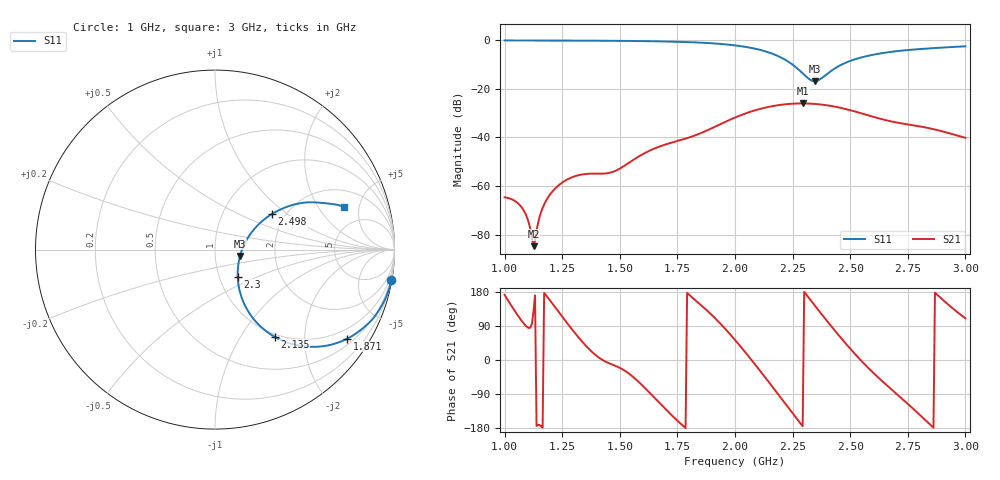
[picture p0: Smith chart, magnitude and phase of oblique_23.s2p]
! TOUCHSTONE file generated by CST MICROWAVE STUDIO
! Date and time: Tue Mar 18 00:00:54 2025
! Project name: oblique.cst
! Parameters = {Tilt=30; Fracture=1; B=10; D=160; F=15; Feed=2.85625; L=100; M=30; R=0.384908; S=1; Theta=180; length=57.125; wave=114.25}
! Header version: 2024
! Port assignment regex: !\s*Touchstone port\s*([0-9]+)\s*=\s*(CST MWS port|CST DES external port|CST DES block port)\s*(.+)\s* \(\"(.*)\"\)(\s*mode\s*([0-9]+))?.*
! Touchstone port assignment:
! Touchstone port 1 = CST MWS port 1 ("")
! Touchstone port 2 = CST MWS port 2 ("")
# GHz S DB R 50
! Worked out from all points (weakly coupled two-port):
!   304 points, 1 GHz to 3 GHz, reference 50 ohm
!   highest |S21| = -25.97 dB at 2.294 GHz (marker M1); lowest = -84.8 dB at 1.125 GHz (marker M2)
!   lowest |S11| = -16.8 dB at 2.347 GHz (marker M3), VSWR 1.34, Z = 66 - j4.77 ohm
!   |S11| at or under -10 dB: 2.25 GHz to 2.462 GHz (212.2 MHz wide, 9 % of centre)
!   S12 and S22 are empty: the file has one direction only
!   S11 on the Smith chart (normalised r, x): 1 GHz: 0, -12; 1.871 GHz: 0.67, -3.15; 2.135 GHz: 0.96, -1.42; 2.3 GHz: 1.22, -0.38; 2.498 GHz: 1.70, +0.79; 3 GHz: 3.11, +3.47
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1  -0.02 -9.8  -64.64 171.7  -200.00 0.0  -200.00 0.0
1.07261  -0.03 -10.8  -68.60 104.5  -200.00 0.0  -200.00 0.0
1.09901  -0.03 -11.2  -73.37 86.4  -200.00 0.0  -200.00 0.0
1.11881  -0.03 -11.5  -81.58 95.9  -200.00 0.0  -200.00 0.0
1.12541  -0.03 -11.6  -84.78 129.0  -200.00 0.0  -200.00 0.0
1.13861  -0.04 -11.8  -78.47 -174.2  -200.00 0.0  -200.00 0.0
1.16502  -0.04 -12.2  -69.04 -178.6  -200.00 0.0  -200.00 0.0
1.20462  -0.05 -12.8  -62.57 151.4  -200.00 0.0  -200.00 0.0
1.26403  -0.07 -13.9  -57.71 103.2  -200.00 0.0  -200.00 0.0
1.33663  -0.09 -15.2  -55.23 48.4  -200.00 0.0  -200.00 0.0
1.46865  -0.16 -18.2  -54.21 -12.4  -200.00 0.0  -200.00 0.0
1.66667  -0.38 -24.3  -43.93 -109.9  -200.00 0.0  -200.00 0.0
1.87129  -1.03 -33.9  -37.40 134.7  -200.00 0.0  -200.00 0.0
2.0033  -2.09 -43.5  -31.65 50.7  -200.00 0.0  -200.00 0.0
2.13531  -4.61 -55.7  -27.61 -49.2  -200.00 0.0  -200.00 0.0
2.29373  -13.56 -52.6  -25.97 -174.9  -200.00 0.0  -200.00 0.0
2.30033  -14.15 -49.9  -25.97 179.9  -200.00 0.0  -200.00 0.0
2.33993  -16.78 -20.6  -26.13 148.8  -200.00 0.0  -200.00 0.0
2.34653  -16.84 -14.2  -26.17 143.6  -200.00 0.0  -200.00 0.0
2.49835  -8.51 32.0  -28.70 31.1  -200.00 0.0  -200.00 0.0
2.66997  -4.81 27.2  -33.20 -72.7  -200.00 0.0  -200.00 0.0
3  -2.44 18.5  -40.13 110.1  -200.00 0.0  -200.00 0.0
